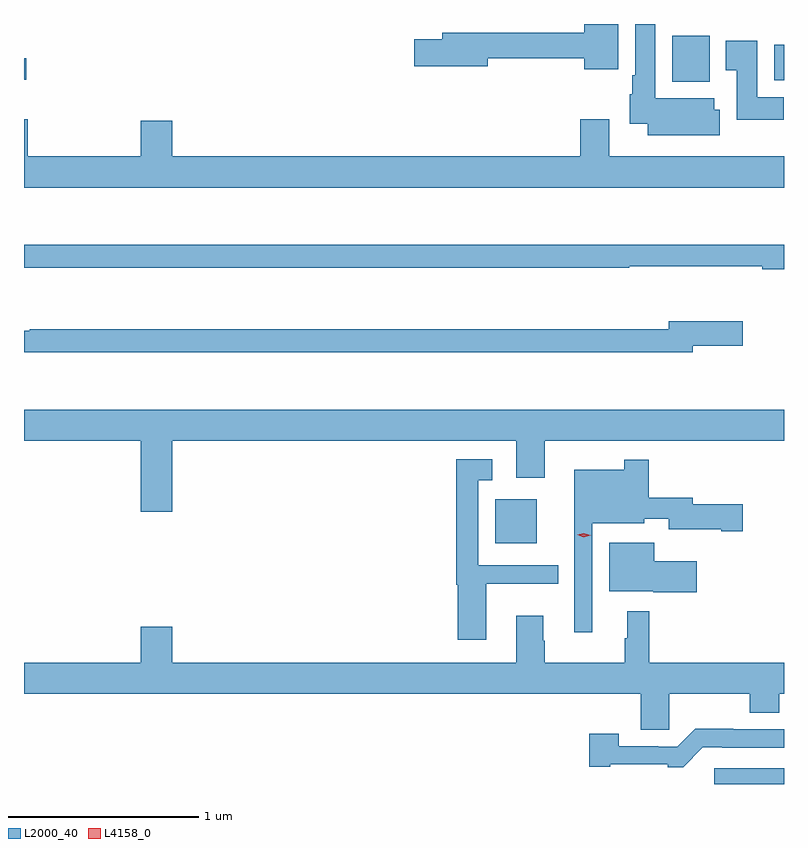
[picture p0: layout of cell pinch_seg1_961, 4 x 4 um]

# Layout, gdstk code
import gdstk
lib = gdstk.Library(unit=1e-6, precision=1e-09)
def R(c, l, rs):  # rectangles x0, y0, x1, y1
    for r in rs: c.add(gdstk.rectangle(r[:2], r[2:], *l))
def P(c, l, *ps):  # polygons
    for p in ps: c.add(gdstk.Polygon(p, *l))
L2000_40 = (2000, 40)
L4158_0 = (4158, 0)

pinch_seg1_961 = lib.new_cell('pinch_seg1_961')
R(pinch_seg1_961, L2000_40, [(299.894,549.925,300.261,550.009), (298.742,551.192,298.96,551.425), (299.672,553.622,299.869,553.864), (300.209,553.628,300.261,553.816), (296.261,553.632,296.273,553.744)])
P(pinch_seg1_961, L2000_40, [(299.923,553.475),(299.893,553.475),(299.893,553.534),(299.584,553.534),(299.584,553.925),(299.477,553.925),(299.477,553.654),(299.462,553.654),(299.462,553.554),(299.45,553.554),(299.45,553.4),(299.543,553.4),(299.543,553.34),(299.923,553.34)],
  [(299.389,553.925),(299.21,553.925),(299.21,553.88),(298.463,553.88),(298.463,553.844),(298.314,553.844),(298.314,553.702),(298.702,553.702),(298.702,553.744),(299.21,553.744),(299.21,553.688),(299.389,553.688)],
  [(300.26,553.54),(300.121,553.54),(300.121,553.837),(299.954,553.837),(299.954,553.681),(300.011,553.681),(300.011,553.422),(300.26,553.422)],
  [(300.261,553.228),(299.341,553.228),(299.341,553.423),(299.189,553.423),(299.189,553.228),(297.04,553.228),(297.04,553.417),(296.876,553.417),(296.876,553.228),(296.282,553.228),(296.282,553.423),(296.261,553.423),(296.261,553.064),(300.261,553.064)],
  [(300.261,552.763),(296.261,552.763),(296.261,552.642),(299.446,552.642),(299.446,552.649),(300.146,552.649),(300.146,552.634),(300.261,552.634)],
  [(299.782,552.232),(300.043,552.232),(300.043,552.361),(299.654,552.361),(299.654,552.319),(296.29,552.319),(296.29,552.311),(296.261,552.311),(296.261,552.198),(299.782,552.198)],
  [(297.04,551.732),(298.853,551.732),(298.853,551.538),(299.002,551.538),(299.002,551.732),(300.261,551.732),(300.261,551.896),(296.261,551.896),(296.261,551.732),(296.876,551.732),(296.876,551.358),(297.04,551.358)],
  [(298.693,550.979),(299.072,550.979),(299.072,551.076),(298.653,551.076),(298.653,551.525),(298.726,551.525),(298.726,551.635),(298.537,551.635),(298.537,550.973),(298.544,550.973),(298.544,550.683),(298.693,550.683)],
  [(299.253,551.297),(299.526,551.297),(299.526,551.322),(299.654,551.322),(299.654,551.267),(299.93,551.267),(299.93,551.255),(300.043,551.255),(300.043,551.397),(299.782,551.397),(299.782,551.431),(299.549,551.431),(299.549,551.632),(299.421,551.632),(299.421,551.578),(299.156,551.578),(299.156,551.201),(299.157,551.201),(299.157,550.725),(299.253,550.725)],
  [(299.803,551.098),(299.578,551.098),(299.578,551.194),(299.342,551.194),(299.342,550.94),(299.574,550.94),(299.574,550.933),(299.803,550.933)],
  [(299.658,550.4),(300.082,550.4),(300.082,550.301),(300.237,550.301),(300.237,550.4),(300.261,550.4),(300.261,550.564),(299.552,550.564),(299.552,550.834),(299.435,550.834),(299.435,550.691),(299.424,550.691),(299.424,550.564),(299.001,550.564),(299.001,550.679),(298.993,550.679),(298.993,550.81),(298.853,550.81),(298.853,550.564),(297.04,550.564),(297.04,550.753),(296.876,550.753),(296.876,550.564),(296.261,550.564),(296.261,550.4),(299.507,550.4),(299.507,550.21),(299.658,550.21)],
  [(299.834,550.118),(299.935,550.118),(299.935,550.116),(300.261,550.116),(300.261,550.212),(299.993,550.212),(299.993,550.216),(299.794,550.216),(299.7,550.122),(299.6,550.122),(299.6,550.125),(299.391,550.125),(299.391,550.189),(299.235,550.189),(299.235,550.017),(299.347,550.017),(299.347,550.029),(299.648,550.029),(299.648,550.014),(299.73,550.014)])
P(pinch_seg1_961, L4158_0, [(299.207,551.225),(299.172,551.237),(299.172,551.237),(299.172,551.238),(299.208,551.245),(299.243,551.234),(299.244,551.234),(299.243,551.233)])

lib.write_gds('pinch_seg1_961.gds')
